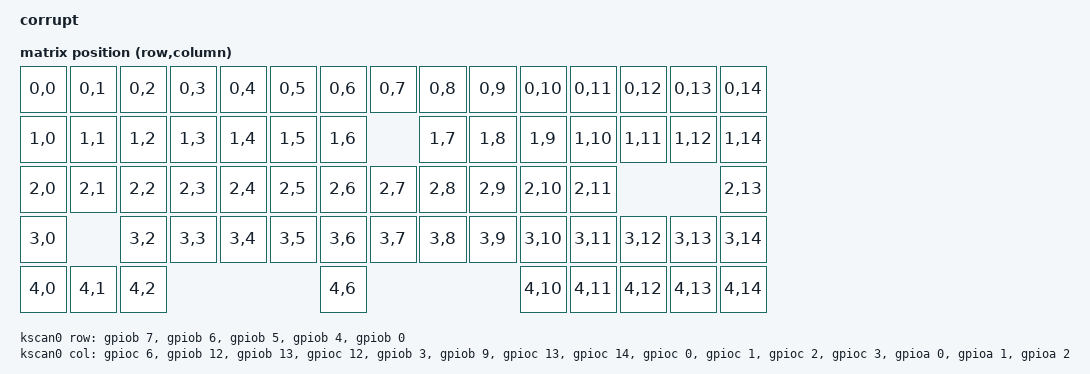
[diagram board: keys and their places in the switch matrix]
/*
 * Copyright (c) 2021 Josef Gajdusek
 *
 * SPDX-License-Identifier: MIT
 */

/dts-v1/;
#include <st/f4/stm32f405Xg.dtsi>

#include <dt-bindings/zmk/matrix_transform.h>

/ {
	model = "corrupt";
	compatible = "corrupt", "st,stm32f405";

	chosen {
		zephyr,sram = &sram0;
		zephyr,flash = &flash0;
		zmk,kscan = &kscan0;
		zmk,matrix_transform = &default_transform;
	};

	default_transform: keymap_transform_0 {
		compatible = "zmk,matrix-transform";
		columns = <15>;
		rows = <5>;
		map = <
RC(0,0) RC(0,1) RC(0,2) RC(0,3) RC(0,4) RC(0,5) RC(0,6) RC(0,7) RC(0,8) RC(0,9) RC(0,10) RC(0,11) RC(0,12) RC(0,13) RC(0,14)
RC(1,0)   RC(1,1) RC(1,2) RC(1,3) RC(1,4) RC(1,5) RC(1,6) RC(1,7) RC(1,8) RC(1,9) RC(1,10) RC(1,11) RC(1,12)        RC(1,14)
RC(2,0)     RC(2,1) RC(2,2) RC(2,3) RC(2,4) RC(2,5) RC(2,6) RC(2,7) RC(2,8) RC(2,9) RC(2,10) RC(2,11)               RC(2,13)
RC(3,0)         RC(3,2) RC(3,3) RC(3,4) RC(3,5) RC(3,6) RC(3,7) RC(3,8) RC(3,9) RC(3,10) RC(3,11) RC(3,12) RC(3,13) RC(3,14)
RC(4,0)   RC(4,1)   RC(4,2)                   RC(4,6)                           RC(4,10) RC(4,11) RC(4,12) RC(4,13) RC(4,14)
		>;
	};

	kscan0: kscan {
		compatible = "zmk,kscan-gpio-matrix-polled";
		label = "KSCAN";

		diode-direction = "row2col";
		row-gpios
			= <&gpiob 7 GPIO_ACTIVE_HIGH>
			, <&gpiob 6 GPIO_ACTIVE_HIGH>
			, <&gpiob 5 GPIO_ACTIVE_HIGH>
			, <&gpiob 4 GPIO_ACTIVE_HIGH>
			, <&gpiob 0 GPIO_ACTIVE_HIGH>
			;
		col-gpios
			= <&gpioc 6  (GPIO_ACTIVE_HIGH | GPIO_PULL_DOWN)>
			, <&gpiob 12 (GPIO_ACTIVE_HIGH | GPIO_PULL_DOWN)>
			, <&gpiob 13 (GPIO_ACTIVE_HIGH | GPIO_PULL_DOWN)>
			, <&gpioc 12 (GPIO_ACTIVE_HIGH | GPIO_PULL_DOWN)>
			, <&gpiob 3  (GPIO_ACTIVE_HIGH | GPIO_PULL_DOWN)>
			, <&gpiob 9  (GPIO_ACTIVE_HIGH | GPIO_PULL_DOWN)>
			, <&gpioc 13  (GPIO_ACTIVE_HIGH | GPIO_PULL_DOWN)>
			, <&gpioc 14  (GPIO_ACTIVE_HIGH | GPIO_PULL_DOWN)>
			, <&gpioc 0   (GPIO_ACTIVE_HIGH | GPIO_PULL_DOWN)>
			, <&gpioc 1   (GPIO_ACTIVE_HIGH | GPIO_PULL_DOWN)>
			, <&gpioc 2   (GPIO_ACTIVE_HIGH | GPIO_PULL_DOWN)>
			, <&gpioc 3   (GPIO_ACTIVE_HIGH | GPIO_PULL_DOWN)>
			, <&gpioa 0   (GPIO_ACTIVE_HIGH | GPIO_PULL_DOWN)>
			, <&gpioa 1   (GPIO_ACTIVE_HIGH | GPIO_PULL_DOWN)>
			, <&gpioa 2   (GPIO_ACTIVE_HIGH | GPIO_PULL_DOWN)>
			;
	};
};

&usbotg_hs {
	status = "okay";
};
